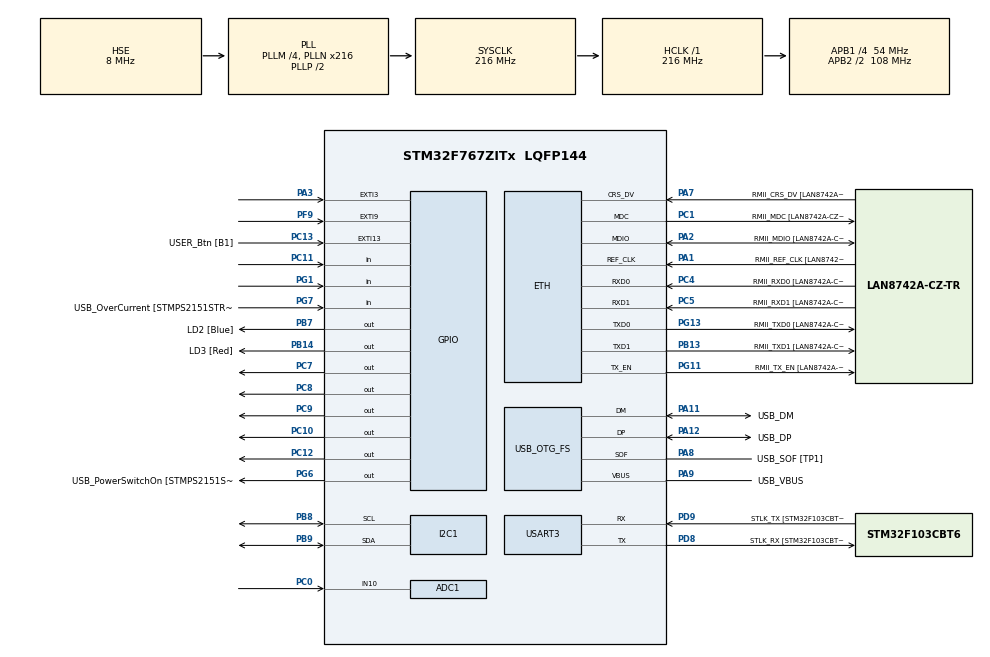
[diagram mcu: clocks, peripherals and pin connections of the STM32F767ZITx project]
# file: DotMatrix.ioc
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ADC1.Channel-1\#ChannelRegularConversion=ADC_CHANNEL_10
ADC1.ContinuousConvMode=ENABLE
ADC1.EOCSelection=ADC_EOC_SEQ_CONV
ADC1.NbrOfConversionFlag=1
ADC1.Rank-1\#ChannelRegularConversion=1
ADC1.SamplingTime-1\#ChannelRegularConversion=ADC_SAMPLETIME_3CYCLES
ADC1.ScanConvMode=ADC_SCAN_DISABLE
ADC1.master=1
ETH.MediaInterface=ETH_MEDIA_INTERFACE_RMII
ETH.PHY_Name=LAN8742A_PHY_ADDRESS
ETH.PHY_Value=0
ETH.PhyAddress=0
I2C1.Timing=0x20404768
Mcu.Family=STM32F7
Mcu.Name=STM32F767ZITx
Mcu.Package=LQFP144
NVIC.EXTI3_IRQn=true\:0\:0\:true\:false\:true\:true\:true
NVIC.EXTI9_5_IRQn=true\:2\:0\:true\:false\:true\:true\:true
NVIC.PriorityGroup=NVIC_PRIORITYGROUP_4
NVIC.RTC_Alarm_IRQn=true\:0\:0\:false\:false\:true\:true\:true
PA1.GPIO_Label=RMII_REF_CLK [LAN8742A-CZ-TR_REFCLK0]
PA1.Mode=RMII
PA1.Signal=ETH_REF_CLK
PA10.GPIO_Label=USB_ID
PA10.Signal=USB_OTG_FS_ID
PA11.GPIO_Label=USB_DM
PA11.Mode=Device_Only
PA11.Signal=USB_OTG_FS_DM
PA12.GPIO_Label=USB_DP
PA12.Mode=Device_Only
PA12.Signal=USB_OTG_FS_DP
PA13.GPIO_Label=TMS
PA13.Mode=Serial_Wire
PA13.Signal=SYS_JTMS-SWDIO
PA14.GPIO_Label=TCK
PA14.Mode=Serial_Wire
PA14.Signal=SYS_JTCK-SWCLK
PA2.GPIO_Label=RMII_MDIO [LAN8742A-CZ-TR_MDIO]
PA2.Mode=RMII
PA2.Signal=ETH_MDIO
PA3.GPIO_PuPd=GPIO_NOPULL
PA3.Signal=GPXTI3
PA7.GPIO_Label=RMII_CRS_DV [LAN8742A-CZ-TR_CRS_DV]
PA7.Mode=RMII
PA7.Signal=ETH_CRS_DV
PA8.GPIO_Label=USB_SOF [TP1]
PA8.Mode=Activate_SOF_FS
PA8.Signal=USB_OTG_FS_SOF
PA9.GPIO_Label=USB_VBUS
PA9.Mode=Activate_VBUS
PA9.Signal=USB_OTG_FS_VBUS
PB13.GPIO_Label=RMII_TXD1 [LAN8742A-CZ-TR_TXD1]
PB13.Mode=RMII
PB13.Signal=ETH_TXD1
PB14.GPIO_Label=LD3 [Red]
PB14.Signal=GPIO_Output
PB3.GPIO_Label=SWO
PB3.Signal=SYS_JTDO-SWO
PB7.GPIO_Label=LD2 [Blue]
PB7.Signal=GPIO_Output
PB8.Mode=I2C
PB8.Signal=I2C1_SCL
PB9.Mode=I2C
PB9.Signal=I2C1_SDA
PC0.Signal=ADCx_IN10
PC1.GPIO_Label=RMII_MDC [LAN8742A-CZ-TR_MDC]
PC1.Mode=RMII
PC1.Signal=ETH_MDC
PC10.Signal=GPIO_Output
PC11.Signal=GPIO_Input
PC12.Signal=GPIO_Output
PC13.GPIO_Label=USER_Btn [B1]
PC13.Signal=GPXTI13
PC14/OSC32_IN.Mode=LSE-External-Oscillator
PC14/OSC32_IN.Signal=RCC_OSC32_IN
PC15/OSC32_OUT.Mode=LSE-External-Oscillator
PC15/OSC32_OUT.Signal=RCC_OSC32_OUT
PC4.GPIO_Label=RMII_RXD0 [LAN8742A-CZ-TR_RXD0]
PC4.Mode=RMII
PC4.Signal=ETH_RXD0
PC5.GPIO_Label=RMII_RXD1 [LAN8742A-CZ-TR_RXD1]
PC5.Mode=RMII
PC5.Signal=ETH_RXD1
PC7.Signal=GPIO_Output
PC8.Signal=GPIO_Output
PC9.Signal=GPIO_Output
PD8.GPIO_Label=STLK_RX [STM32F103CBT6_PA3]
PD8.Mode=Asynchronous
PD8.Signal=USART3_TX
PD9.GPIO_Label=STLK_TX [STM32F103CBT6_PA2]
PD9.Mode=Asynchronous
PD9.Signal=USART3_RX
PF9.GPIO_PuPd=GPIO_NOPULL
PF9.Signal=GPXTI9
PG1.Signal=GPIO_Input
PG11.GPIO_Label=RMII_TX_EN [LAN8742A-CZ-TR_TXEN]
PG11.Mode=RMII
PG11.Signal=ETH_TX_EN
PG13.GPIO_Label=RMII_TXD0 [LAN8742A-CZ-TR_TXD0]
PG13.Mode=RMII
PG13.Signal=ETH_TXD0
PG6.GPIO_Label=USB_PowerSwitchOn [STMPS2151STR_EN]
PG6.Signal=GPIO_Output
PG7.GPIO_Label=USB_OverCurrent [STMPS2151STR_FAULT]
PG7.Signal=GPIO_Input
PH0/OSC_IN.GPIO_Label=MCO [STM32F103CBT6_PA8]
PH0/OSC_IN.Mode=HSE-External-Clock-Source
PH0/OSC_IN.Signal=RCC_OSC_IN
PH1/OSC_OUT.Mode=HSE-External-Clock-Source
PH1/OSC_OUT.Signal=RCC_OSC_OUT
ProjectManager.HeapSize=0x200
ProjectManager.StackSize=0x400
ProjectManager.TargetToolchain=MDK-ARM V5
RCC.48MHZClocksFreq_Value=24000000
RCC.AHBFreq_Value=216000000
RCC.APB1CLKDivider=RCC_HCLK_DIV4
RCC.APB1Freq_Value=54000000
RCC.APB1TimFreq_Value=108000000
RCC.APB2CLKDivider=RCC_HCLK_DIV2
RCC.APB2Freq_Value=108000000
RCC.APB2TimFreq_Value=216000000
RCC.CortexFreq_Value=216000000
RCC.HCLKFreq_Value=216000000
RCC.HSE_VALUE=8000000
RCC.HSI_VALUE=16000000
RCC.PLLM=4
RCC.PLLMUL=RCC_PLL_MUL9
RCC.PLLN=216
RCC.PLLQ=9
RCC.PRESCALERUSB=RCC_USBCLKSOURCE_PLL_DIV1_5
RCC.RTCClockSelection=RCC_RTCCLKSOURCE_LSE
RCC.SYSCLKFreq_VALUE=216000000
RCC.SYSCLKSource=RCC_SYSCLKSOURCE_PLLCLK
RCC.SYSCLKSourceVirtual=RCC_SYSCLKSOURCE_PLLCLK
RCC.USBFreq_Value=48000000
RCC.VCOOutputFreq_Value=432000000
RTC.Alarm-Alarm\ A=RTC_ALARM_A
SH.ADCx_IN10.0=ADC1_IN10,IN10
USART3.VirtualMode-Asynchronous=VM_ASYNC
USB_OTG_FS.VirtualMode=Device_Only
VP_RTC_VS_RTC_Activate.Mode=RTC_Enabled
VP_RTC_VS_RTC_Alarm_A_Intern.Mode=Alarm A
VP_RTC_VS_RTC_Calendar.Mode=RTC_Calendar
board=NUCLEO-F767ZI

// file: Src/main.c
/* USER CODE BEGIN Header */
/**
  ******************************************************************************
  * @file           : main.c
  * @brief          : Main program body
  ******************************************************************************
  * @attention
  *
  * <h2><center>&copy; Copyright (c) 2019 STMicroelectronics.
  * All rights reserved.</center></h2>
  *
  * This software component is licens
ed by ST under BSD 3-Clause license,
  * the "License"; You may not use this file except in compliance with the
  * License. You may obtain a copy of the License at:
  *                        opensource.org/licenses/BSD-3-Clause
  *
  ******************************************************************************
  */
/* USER CODE END Header */

#include "main.h"
#include "adc.h"
#include "eth.h"
#include "i2c.h"
#include "rtc.h"
#include "usart.h"
#include "usb_otg.h"
#include "gpio.h"

/* USER CODE BEGIN Includes */
#include "max_matrix_stm32.h"
#include "string.h"
#include "stdio.h"
#include "dwt_stm32_delay.h"
/* USER CODE END Includes */

/* USER CODE BEGIN PTD */
extern RTC_HandleTypeDef hrtc;
/* USER CODE END PTD */

/* USER CODE BEGIN PV */
char timebuff[50];
char datebuff[50];
char timerbuff[50];
char alarmbuff[50];
char backtime[50];
char hoursbuff[50];
char minutebuff[50];
char daybuff[50];
char monthbuff[50];
char yearbuff[50];
int state = 0;
uint8_t alarm = 0;
int set = 0; // in clock
int mode = 1; // change mode
int set_timer = 0;
uint16_t setHours = 0x10;
uint16_t setMinutes = 0x20;
uint16_t setDate = 0x22;
uint16_t setMonth = RTC_MONTH_NOVEMBER;
uint16_t setYear = 0x19;
uint16_t set_alarm_Hours = 0x16;
uint16_t set_alarm_minute = 0x22;
uint8_t timer_count = 0;
uint8_t timer_minute = 0;
uint8_t timer_second = 0;
uint8_t timerdown_minute = 0;
uint8_t timerdown_second = 0;
int backup_timer_minute = 0 ;
int backup_timer_second = 0;
float h,t;
uint8_t step=0;
uint16_t CRC16_2(uint8_t *,uint8_t);
/* USER CODE END PV */

void SystemClock_Config(void);
/* USER CODE BEGIN PFP */
void Clock_Metrix_Display();
void get_timer();
void get_alarm();
/* USER CODE END PFP */

/* USER CODE BEGIN 0 */
void set_time (void){

	RTC_TimeTypeDef sTime;
  RTC_DateTypeDef sDate;

//	setHours = 0x10;
//	setMinutes = 0x20;
//	setDate = 0x22;
//	setMonth = RTC_MONTH_NOVEMBER;
//	setYear = 0x19;
	if(mode == 1 && set == 1) {
		sprintf(hoursbuff,"%02d",setHours);
		max_clear();
		HAL_Delay(200);
		write_char(hoursbuff[0],3);
		write_char(hoursbuff[1],2);
		HAL_Delay(200);
		if(HAL_GPIO_ReadPin(GPIOG, GPIO_PIN_1) == 1) {
			setHours += 0x1;
			HAL_Delay(500);
		}
		else if(HAL_GPIO_ReadPin(GPIOC, GPIO_PIN_11) == 1) {
			setHours -= 0x1;
			HAL_Delay(500);
		}
		if(setHours > 0x23){
			setHours = 0x0;
		}
		if(setHours < 0x0) {
			setHours = 0x23;
		}
	}
	else if(mode == 1 && set == 2) {
		sprintf(minutebuff,"%02d",setMinutes);
		max_clear();
		HAL_Delay(200);
		write_char(minutebuff[0],3);
		write_char(minutebuff[1],2);
		HAL_Delay(200);
		if(HAL_GPIO_ReadPin(GPIOG, GPIO_PIN_1) == 1) {
			setMinutes += 0x1;
			HAL_Delay(500);
		}
		else if(HAL_GPIO_ReadPin(GPIOC, GPIO_PIN_11) == 1) {
			setMinutes -= 0x1;
			HAL_Delay(500);
		}
		if(setMinutes > 0x60){
			setMinutes = 0x0;
		}
		if(setMinutes < 0x0){
			setMinutes = 0x59;
		}
	}
	if(mode == 2 && set == 1) {
		sprintf(daybuff,"%02d",setDate);
		max_clear();
		HAL_Delay(200);
		write_char(daybuff[0],3);
		write_char(daybuff[1],2);
		HAL_Delay(200);
		if(HAL_GPIO_ReadPin(GPIOG, GPIO_PIN_1) == 1) {
			setDate += 0x1;
			HAL_Delay(500);
			if(setDate > 0x30){
			setDate = 0x1;
			HAL_Delay(500);
		}
		if(setDate < 0x1){
			setDate = 0x30;
			HAL_Delay(500);
		}
		}
		else if(HAL_GPIO_ReadPin(GPIOC, GPIO_PIN_11) == 1) {
			setDate -= 0x1;
			HAL_Delay(500);
			if(setDate > 0x30){
			setDate = 0x1;
			HAL_Delay(500);
		}
		if(setDate < 0x1){
			setDate = 0x30;
			HAL_Delay(500);
		}
		}

	}
	else if(mode == 2 && set == 2) {
		sprintf(monthbuff,"%02d",setMonth);
		max_clear();
		HAL_Delay(200);
		write_char(monthbuff[0],3);
		write_char(monthbuff[1],2);
		HAL_Delay(200);
		if(HAL_GPIO_ReadPin(GPIOG, GPIO_PIN_1) == 1) {
				setMonth += 0x1;
				HAL_Delay(500);
			}
			else if(HAL_GPIO_ReadPin(GPIOC, GPIO_PIN_11) == 1) {
				setMonth -= 0x1;
				HAL_Delay(500);
			}
			if(setMonth > 0x12){
				setMonth = 0x1;
			}
			if(setMonth < 0x1){
				setMonth = 0x12;
			}
	}
	else if(mode == 2 && set == 3){
		sprintf(yearbuff,"%d",setYear+2000);
		max_clear();
		HAL_Delay(200);
		write_char(yearbuff[0],4);
		write_char(yearbuff[1],3);
		write_char(yearbuff[2],2);
		write_char(yearbuff[3],1);
		HAL_Delay(200);
		if(HAL_GPIO_ReadPin(GPIOG, GPIO_PIN_1) == 1) {
			setYear += 0x1;
		}
		else if(HAL_GPIO_ReadPin(GPIOC, GPIO_PIN_11) == 1) {
			setYear -= 0x1;
		}
	}

	sTime.Hours = setHours ;
  sTime.Minutes = setMinutes;
  sTime.Seconds = 0x30;
  sTime.DayLightSaving = RTC_DAYLIGHTSAVING_NONE;
  sTime.StoreOperation = RTC_STOREOPERATION_RESET;
  if (HAL_RTC_SetTime(&hrtc, &sTime, RTC_FORMAT_BCD) != HAL_OK)
  {
    Error_Handler();
  }
  /* USER CODE BEGIN RTC_Init 3 */

  /* USER CODE END RTC_Init 3 */

  sDate.WeekDay = RTC_WEEKDAY_FRIDAY;
	sDate.Month = setMonth ;
  sDate.Date = setDate;
  sDate.Year = setYear;

  if (HAL_RTC_SetDate(&hrtc, &sDate, RTC_FORMAT_BCD) != HAL_OK)
  {
    Error_Handler();
  }

	 /* USER CODE BEGIN RTC_Init 4 */
	HAL_RTCEx_BKUPWrite(&hrtc, RTC_BKP_DR1, 0x32F2); // backup register
  /* USER CODE END RTC_Init 4 */
}

void set_alarm (void)
{
	RTC_AlarmTypeDef sAlarm;

	if(mode == 4 && set == 1) {
		if(HAL_GPIO_ReadPin(GPIOG, GPIO_PIN_1) == GPIO_PIN_SET) {
			set_alarm_Hours += 0x1;
			HAL_Delay(500);
			if(set_alarm_Hours > 0x23){
				set_alarm_Hours = 0x0;
			}
		}
		else if(HAL_GPIO_ReadPin(GPIOC, GPIO_PIN_11) == GPIO_PIN_SET) {
			set_alarm_Hours -= 0x1;
			HAL_Delay(500);
			if(set_alarm_Hours < 0x0) {
			set_alarm_Hours = 0x23;
		}
		}

	}
	else if(mode == 4 && set == 2) {
		if(HAL_GPIO_ReadPin(GPIOG, GPIO_PIN_1) == GPIO_PIN_SET) {
			set_alarm_minute += 0x1;
			HAL_Delay(500);
			if(set_alarm_minute > 0x59){
			set_alarm_minute = 0x0;
		}
		else if(HAL_GPIO_ReadPin(GPIOC, GPIO_PIN_11) == GPIO_PIN_SET) {
			set_alarm_minute -= 0x1;
			HAL_Delay(500);

			}
			if(set_alarm_minute < 0x0){
				set_alarm_minute = 0x59;
			}
		}

	}

	sAlarm.AlarmTime.Hours = set_alarm_Hours;
  sAlarm.AlarmTime.Minutes = set_alarm_minute;
  sAlarm.AlarmTime.Seconds = 0x00;
  sAlarm.AlarmTime.SubSeconds = 0x0;
  sAlarm.AlarmTime.DayLightSaving = RTC_DAYLIGHTSAVING_NONE;
  sAlarm.AlarmTime.StoreOperation = RTC_STOREOPERATION_RESET;
  sAlarm.AlarmMask = RTC_ALARMMASK_NONE;
  sAlarm.AlarmSubSecondMask = RTC_ALARMSUBSECONDMASK_ALL;
  sAlarm.AlarmDateWeekDaySel = RTC_ALARMDATEWEEKDAYSEL_DATE;
  sAlarm.AlarmDateWeekDay = setDate;
  sAlarm.Alarm = RTC_ALARM_A;
  if (HAL_RTC_SetAlarm_IT(&hrtc, &sAlarm, RTC_FORMAT_BCD) != HAL_OK)
  {
    Error_Handler();
  }
	if(set>0){
	get_alarm();}

  /* USER CODE BEGIN RTC_Init 5 */

  /* USER CODE END RTC_Init 5 */
}

void timer_up (void) {
	if(HAL_GPIO_ReadPin(GPIOC, GPIO_PIN_9) == GPIO_PIN_SET ){
		backup_timer_minute = timer_minute;
		backup_timer_second = timer_second;
		set = 4;
	}
	if(timer_count % 1000){
		timer_second += 1 ;
		if(timer_second%60 == 0) {
			timer_second = 0;
			timer_minute +=1;
		}
	}

}

void timer_down (void) {
	if(HAL_GPIO_ReadPin(GPIOC, GPIO_PIN_9) == GPIO_PIN_SET ){
		backup_timer_minute = timer_minute;
		backup_timer_second = timer_second;
		set = 4;
	}

	if(timer_count % 1000){
		if(timer_second == 0 && timer_minute > 0){
			timer_minute -= 1;
			timer_second = 59;
		}
		if(timer_second > 0) {
		timer_second -= 1 ; }

		if(timer_second%60 == 0) {
			if(timer_minute == 0 && timer_second == 0){
				timer_minute = 0;
				timer_second =0;
				backup_timer_minute = 0;
				backup_timer_second = 0;
				state = 1;
				set = 4;
			}
			else  {timer_second = 59;
			timer_minute -=1; }
		}

	}

}

void checkstate_timer (void) {
	if(mode == 3 && set == 1){
		if(HAL_GPIO_ReadPin(GPIOG, GPIO_PIN_1) == GPIO_PIN_SET ) {
			timer_minute += 1;
		}
		if (HAL_GPIO_ReadPin(GPIOC, GPIO_PIN_11) == GPIO_PIN_SET ) {
			timer_minute -=1;
		}
		if(timer_minute > 59) {
			timer_minute = 0;
		}
		else if(timer_minute <0 ) {
			timer_minute = 59;
		}
		get_timer();
	}
	else if(mode == 3 && set==2){
		if(HAL_GPIO_ReadPin(GPIOG, GPIO_PIN_1) == GPIO_PIN_SET ) {
			timer_second += 1;
		}
		if (HAL_GPIO_ReadPin(GPIOC, GPIO_PIN_11) == GPIO_PIN_SET ) {
			timer_second -=1;
		}
		if(timer_second > 59) {
			timer_second = 0;
		}
		else if(timer_second <0 ) {
			timer_second = 59;
		}
		get_timer();
	}
	else if (mode == 3 && set==3) {
		if(timer_minute == 0 && timer_second == 0)
		{
			timer_count = 0;
			state = 0;
			while(set==3) {
				timer_up();
				get_timer();
			}
		} else {
			timer_count = 0;
			state = 0;
			while(set==3){
				timer_down();
				get_timer();
			}
		}
	}
	else if (set == 4) {
		while(set == 4){
		if(state == 1){
			timer_minute = 0; timer_second = 0;
		}
		sprintf(backtime, "Timer stop : %02d : %02d" , timer_minute, timer_second);
		scroll_string((uint8_t *)backtime,50,left);
		HAL_Delay(500);
		scroll_string((uint8_t *)"                 ",1,left);
//		HAL_UART_Transmit(&huart3, (uint8_t*) backtime ,30,1000);
//		HAL_Delay(500);
//		HAL_UART_Transmit(&huart3, (uint8_t*) '\r' ,2,1000);}
	}
	get_timer();
	}
}
void get_alarm(void) {
	RTC_AlarmTypeDef setAlarm;
	HAL_RTC_GetAlarm(&hrtc, &setAlarm, RTC_ALARM_A , RTC_FORMAT_BIN);

	sprintf(alarmbuff, "%02d : %02d" , setAlarm.AlarmTime.Hours, setAlarm.AlarmTime.Minutes);
	scroll_string((uint8_t *)"Alarm",50,left);
	// HAL_Delay(500);
	scroll_string((uint8_t *)"                 ",1,left);

	scroll_string((uint8_t *)alarmbuff,50,left);
	// HAL_Delay(500);
	scroll_string((uint8_t *)"                 ",1,left);
//	HAL_UART_Transmit(&huart3, (uint8_t*) alarmbuff ,30,1000);
//	HAL_Delay(1000);
	// HAL_UART_Transmit(&huart3, (uint8_t*) '\r' ,2,1000);
}

void get_timer(void) {
	sprintf(timerbuff, "%02d%02d" , timer_minute, timer_second);
//	HAL_UART_Transmit(&huart3, (uint8_t*) timerbuff ,30,1000);
//	//HAL_Delay(1000);
//	HAL_UART_Transmit(&huart3, (uint8_t*) '\r' ,2,1000);
}

// current value
void get_time(void)
{

	RTC_DateTypeDef gDate;
	RTC_TimeTypeDef gTime;
	// get RTC current time
	HAL_RTC_GetTime(&hrtc, &gTime, RTC_FORMAT_BIN);
	// get RTC current Date
	HAL_RTC_GetDate(&hrtc, &gDate, RTC_FORMAT_BIN);
	// format hh:mm:ss
	sprintf(timebuff, "%02d%02d", gTime.Hours , gTime.Minutes);
	// format dd - mm - yy
	sprintf(datebuff, "%02d-%02d-%2d", gDate.Date , gDate.Month, 2000 + gDate.Year);
}

void HAL_RTC_AlarmAEventCallback(RTC_HandleTypeDef *hrtc) {
	alarm = 1;
}

void to_do_alarm (void) {
	while(HAL_GPIO_ReadPin(GPIOA, GPIO_PIN_3) == 0)
	{
		char str[] = "ALARM!!!";
		HAL_GPIO_WritePin(GPIOC, GPIO_PIN_12, GPIO_PIN_SET);
		while(__HAL_UART_GET_FLAG(&huart3, UART_FLAG_TC)==RESET) {}
		HAL_UART_Transmit(&huart3, (uint8_t*) str ,strlen(str),1000);
		HAL_Delay(1000);

	}
	HAL_GPIO_WritePin(GPIOC, GPIO_PIN_12, GPIO_PIN_RESET);
	alarm = 0;

}
/* USER CODE END 0 */

int main(void)
{
  /* USER CODE BEGIN 1 */
char BufferTemp[100];
char BufferHum[100];
	uint8_t cmdBuffer[3];
	uint8_t dataBuffer[8];
  /* USER CODE END 1 */

  /* MCU Configuration--------------------------------------------------------*/

  /* Reset of all peripherals, Initializes the Flash interface and the Systick. */
  HAL_Init();

  /* Configure the system clock */
  SystemClock_Config();

  /* Initialize all configured peripherals */
  MX_GPIO_Init();
  MX_ETH_Init();
  MX_USART3_UART_Init();
  MX_USB_OTG_FS_PCD_Init();
  MX_ADC1_Init();
  MX_I2C1_Init();
  MX_RTC_Init();
	DWT_Delay_Init();

  /* USER CODE BEGIN 2 */
uint32_t samplingTime = 280;
uint32_t deltaTime = 40;
uint32_t sleepTime = 9680;

int voMeasured = 0;
float calcVoltage = 0;
float dustDensity = 0;
int AQI = 0;
int Imax[4] = {25,50,100,200};
int Imin[4] = {0,26,51,101};
int Cmax[4] = {25,37,50,90};
int Cmin[4] = {0,26,38,51};
char BufferAQI[100],n,check[50];
	 max_init (0x03);
	cmdBuffer[0] = 0x03;
	cmdBuffer[1] = 0x00;
	cmdBuffer[2] = 0x04;

HAL_ADC_Start(&hadc1);

if(HAL_RTCEx_BKUPRead(&hrtc, RTC_BKP_DR1) != 0x32F2)
	{
		set_time();
	}
//	set_time();
	set_alarm();
//	write_char ('1',4);  // write 'A' on 4th display			// write_char(DEC_Ascii, display#)
//	write_char ('0',3);  // write '2' on 3rd display
//	write_char ('0',2);  // print heart on 2nd display
//	write_char ('0',1);  // write 'm'on st display
  /* USER CODE END 2 */

  /* Infinite loop */
  while (1)
  {

    /* USER CODE BEGIN 3 */
		sprintf(check,"Mode: %d",mode);
		HAL_UART_Transmit(&huart3,(uint8_t *)check,strlen(check),100);
		while(alarm == 1)
		{
			to_do_alarm();
		}

//		while( mode == 0 ) {
//			get_time();
//			write_char('T',4);
//			write_char('I',3);
//			write_char('M',2);
//			write_char('E',1);
//
//			while(mode == 0){
//			max_clear();
//			HAL_Delay(100);
//			write_char(timebuff[0],4);
//			write_char(timebuff[1],3);
//			write_char(timebuff[2],2);
//			write_char(timebuff[3],1);
//			HAL_Delay(500);
//
//
//			}
//			while(__HAL_UART_GET_FLAG(&huart3, UART_FLAG_TC)==RESET) {}
//			HAL_UART_Transmit(&huart3, (uint8_t*) timebuff ,30,1000);
//			HAL_Delay(1000);
//		}

		while(mode == 1) {
			get_time();
			write_char('T',4);
			write_char('I',3);
			write_char('M',2);
			write_char('E',1);
			HAL_Delay(500);
			while(mode == 1 && set == 0){
			max_clear();
			HAL_Delay(100);
			write_char(timebuff[0],4);
			write_char(timebuff[1],3);
			write_char(timebuff[2],2);
			write_char(timebuff[3],1);
			HAL_Delay(500);
//			while(__HAL_UART_GET_FLAG(&huart3, UART_FLAG_TC)==RESET) {}
//			HAL_UART_Transmit(&huart3, (uint8_t*) timebuff ,30,1000);
		}
			while(set>0){
				set_time();
			}
//			HAL_Delay(1000);
		}
		while(mode == 2){
			get_time();
//			get_time();
			write_char('D',4);
			write_char('A',3);
			write_char('T',2);
			write_char('E',1);
			HAL_Delay(500);
//			scroll_string((uint8_t *)"Set Date ",30,left);
//			HAL_Delay(300);
//			scroll_string((uint8_t *)"                 ",1,left);
			scroll_string((uint8_t *)datebuff,30,left);
			scroll_string((uint8_t *)"                 ",1,left);
//			HAL_UART_Transmit(&huart3, (uint8_t*) datebuff ,30,1000);
			while(set>0)
			{set_time();}

		}
		while(mode == 3) {
			scroll_string((uint8_t *)"Timer",50,left);
			HAL_Delay(500);
			scroll_string((uint8_t *)"                 ",1,left);
			if(set >= 0){
			checkstate_timer();
			}

		}
		while(mode == 4) {
			set_alarm();
		}while(mode == 5){

		sprintf(BufferTemp,"Temperature:%4.1f",t);
		scroll_string((uint8_t *)BufferTemp,50,left);
		// HAL_Delay(100);
		scroll_string((uint8_t *)"               ",1,left);
		sprintf(BufferHum,"Humidity:%4.1f",h);
		scroll_string((uint8_t *)BufferHum,50,left);
		// HAL_Delay(100);
		scroll_string((uint8_t *)"               ",1,left);
		//HAL_Delay(5000);
		HAL_GPIO_TogglePin(GPIOB,GPIO_PIN_0);

		//Wake up Sensor
		HAL_I2C_Master_Transmit(&hi2c1,0x5c<<1,cmdBuffer,3,200);
		//Send reading command
		HAL_I2C_Master_Transmit(&hi2c1,0x5c<<1,cmdBuffer,3,200);

		HAL_Delay(1);

		//Receive sensor data
		HAL_I2C_Master_Receive(&hi2c1,0x5c<<1,dataBuffer,8,200);

		//CRC Check
		uint16_t Rcrc = dataBuffer[7] <<8;
		Rcrc += dataBuffer[6];
		if(Rcrc == CRC16_2(dataBuffer,6)){
			uint16_t temperature = ((dataBuffer[4] & 0x7F) << 8) + dataBuffer[5];
			t = temperature/10.0;
			t=(((dataBuffer[4]&0x80)>>7)==1) ? (t * (-1)) : t;

			uint16_t humidity = (dataBuffer[2] << 8) + dataBuffer[3];
			h = humidity/10.0;
		}
	}while(mode == 6){
		HAL_GPIO_WritePin(GPIOC,GPIO_PIN_7,GPIO_PIN_RESET);
		DWT_Delay_us(samplingTime);

		while(HAL_ADC_PollForConversion(&hadc1,100)!= HAL_OK){}
		voMeasured = HAL_ADC_GetValue(&hadc1);

		DWT_Delay_us(deltaTime);
		HAL_GPIO_WritePin(GPIOC,GPIO_PIN_7,GPIO_PIN_SET);
		DWT_Delay_us(sleepTime);

		calcVoltage = voMeasured * (5.0/4096.0);
		dustDensity = ((0.17*calcVoltage) - 0.1)*100;

		if(dustDensity < 0){
			dustDensity = 0.0;
		}
		if(dustDensity<=25){
			AQI = (((Imax[0]-Imin[0])/(Cmax[0]-Cmin[0]))*(dustDensity-Cmin[0]))+Imin[0];
		}else if(dustDensity > 25 & dustDensity <=37){
			AQI = (((Imax[1]-Imin[1])/(Cmax[1]-Cmin[1]))*(dustDensity-Cmin[1]))+Imin[1];
		}else if(dustDensity > 37 & dustDensity <=50){
			AQI = (((Imax[2]-Imin[2])/(Cmax[2]-Cmin[2]))*(dustDensity-Cmin[2]))+Imin[2];
		}else if(dustDensity > 51 & dustDensity <= 90){
			AQI = (((Imax[3]-Imin[3])/(Cmax[3]-Cmin[3]))*(dustDensity-Cmin[3]))+Imin[3];
		}else{

		}
		sprintf(BufferAQI,"AQI: %d",AQI);
		HAL_UART_Transmit(&huart3,(uint8_t *)BufferAQI,strlen(BufferAQI),200);
		scroll_string((uint8_t *)BufferAQI,150,left);
		HAL_Delay(100);
		scroll_string((uint8_t *)"               ",1,left);
	}
    /* USER CODE BEGIN 3 */
  }
  /* USER CODE END 3 */
}

void SystemClock_Config(void)
{
  RCC_OscInitTypeDef RCC_OscInitStruct = {0};
  RCC_ClkInitTypeDef RCC_ClkInitStruct = {0};
  RCC_PeriphCLKInitTypeDef PeriphClkInitStruct = {0};

  /** Configure LSE Drive Capability
  */
  HAL_PWR_EnableBkUpAccess();
  __HAL_RCC_LSEDRIVE_CONFIG(RCC_LSEDRIVE_LOW);
  /** Configure the main internal regulator output voltage
  */
  __HAL_RCC_PWR_CLK_ENABLE();
  __HAL_PWR_VOLTAGESCALING_CONFIG(PWR_REGULATOR_VOLTAGE_SCALE1);
  /** Initializes the CPU, AHB and APB busses clocks
  */
  RCC_OscInitStruct.OscillatorType = RCC_OSCILLATORTYPE_HSE|RCC_OSCILLATORTYPE_LSE;
  RCC_OscInitStruct.HSEState = RCC_HSE_BYPASS;
  RCC_OscInitStruct.LSEState = RCC_LSE_ON;
  RCC_OscInitStruct.PLL.PLLState = RCC_PLL_ON;
  RCC_OscInitStruct.PLL.PLLSource = RCC_PLLSOURCE_HSE;
  RCC_OscInitStruct.PLL.PLLM = 4;
  RCC_OscInitStruct.PLL.PLLN = 216;
  RCC_OscInitStruct.PLL.PLLP = RCC_PLLP_DIV2;
  RCC_OscInitStruct.PLL.PLLQ = 9;
  if (HAL_RCC_OscConfig(&RCC_OscInitStruct) != HAL_OK)
  {
    Error_Handler();
  }
  /** Activate the Over-Drive mode
  */
  if (HAL_PWREx_EnableOverDrive() != HAL_OK)
  {
    Error_Handler();
  }
  /** Initializes the CPU, AHB and APB busses clocks
  */
  RCC_ClkInitStruct.ClockType = RCC_CLOCKTYPE_HCLK|RCC_CLOCKTYPE_SYSCLK
                              |RCC_CLOCKTYPE_PCLK1|RCC_CLOCKTYPE_PCLK2;
  RCC_ClkInitStruct.SYSCLKSource = RCC_SYSCLKSOURCE_PLLCLK;
  RCC_ClkInitStruct.AHBCLKDivider = RCC_SYSCLK_DIV1;
  RCC_ClkInitStruct.APB1CLKDivider = RCC_HCLK_DIV4;
  RCC_ClkInitStruct.APB2CLKDivider = RCC_HCLK_DIV2;

  if (HAL_RCC_ClockConfig(&RCC_ClkInitStruct, FLASH_LATENCY_7) != HAL_OK)
  {
    Error_Handler();
  }
  PeriphClkInitStruct.PeriphClockSelection = RCC_PERIPHCLK_RTC|RCC_PERIPHCLK_USART3
                              |RCC_PERIPHCLK_I2C1|RCC_PERIPHCLK_CLK48;
  PeriphClkInitStruct.RTCClockSelection = RCC_RTCCLKSOURCE_LSE;
  PeriphClkInitStruct.Usart3ClockSelection = RCC_USART3CLKSOURCE_PCLK1;
  PeriphClkInitStruct.I2c1ClockSelection = RCC_I2C1CLKSOURCE_PCLK1;
  PeriphClkInitStruct.Clk48ClockSelection = RCC_CLK48SOURCE_PLL;
  if (HAL_RCCEx_PeriphCLKConfig(&PeriphClkInitStruct) != HAL_OK)
  {
    Error_Handler();
  }
}

/* USER CODE BEGIN 4 */
uint16_t CRC16_2(uint8_t *ptr,uint8_t length){
	uint16_t crc=0xFFFF;
	uint8_t s = 0x00;

	while(length--){
		crc ^= *ptr++;
		for(s = 0;s < 8; s++){
			if((crc & 0x01) != 0){
				crc >>=1;
				crc ^= 0xA001;
			}else crc >>=1;
		}
	}
	return crc;
}
void Clock_Metrix_Display(uint32_t Mode,char strOut[], char strScroll[]){
		if(Mode == 1 || Mode == 2){					// Normal Clock, Date Month Year, Timer, Alarm
			write_char (strOut[0],4);
			write_char (strOut[1],3);
			write_char (strOut[2],2);
			write_char (strOut[3],1);
		}
		else if(Mode == 3 || Mode == 4){		// AQI, Tempreasure,
			// Load Buffer From AQI , Tempreasure to strScroll
			if(Mode == 3){
				scroll_string ((uint8_t *) "AQI  ", 100, left);
				HAL_Delay(500);
				scroll_string ((uint8_t *) "           ", 1, left);
				strScroll = "";
			}
			else if(Mode == 4){
				scroll_string ((uint8_t *) "Tempreasure", 100, left);
				HAL_Delay(500);
				scroll_string ((uint8_t *) "           ", 1, left);
				strScroll = "";
			}
		}
		scroll_string ((uint8_t *) strScroll, 150, left);
		//statusSend = 1;
}
void HAL_GPIO_EXTI_Callback(uint16_t GPIO_Pin)
{
	// mode
	if(GPIO_Pin == GPIO_PIN_3)
	{
		set = 0;
		HAL_Delay(1500);
		 // clear set init --> 0
		mode +=1;
		if (mode > 6) {
			mode = 1;
		}
	}
	// set in function
	if(GPIO_Pin == GPIO_PIN_9)
	{
		HAL_Delay(1500);
		set +=1;
		if( mode == 1 ) {	// set_time
			if(set > 2 ){
				set = 0;
			}
		}
		else if(mode == 2) {	// set_date
			if(set>3){
				set = 0;
			}
		}
		else if(mode == 3) {	// timer
			if(set >4) {
				set = 0;
			}
		}
		else if(mode == 4) {	// alarm
			if (set>2){
				set = 0;
			}
		}
	}
}
/* USER CODE END 4 */

void Error_Handler(void)
{
}

/************************ (C) COPYRIGHT STMicroelectronics *****END OF FILE****/
